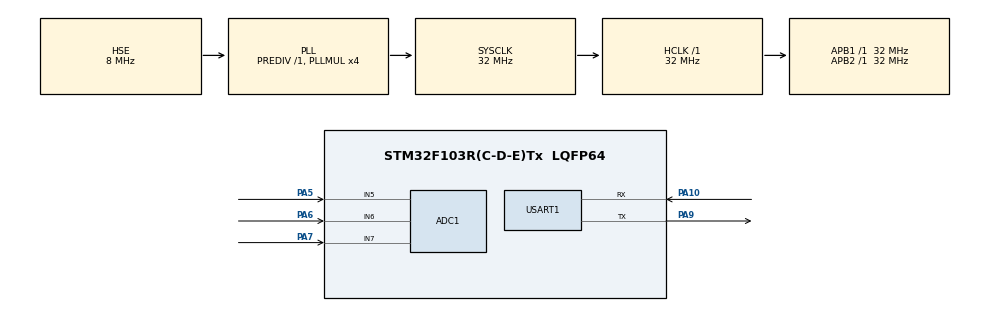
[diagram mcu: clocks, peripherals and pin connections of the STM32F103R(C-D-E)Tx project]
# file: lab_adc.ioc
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ADC1.Channel-3\#ChannelRegularConversion=ADC_CHANNEL_5
ADC1.Channel-4\#ChannelRegularConversion=ADC_CHANNEL_5
ADC1.Channel-5\#ChannelRegularConversion=ADC_CHANNEL_5
ADC1.DiscontinuousConvMode=ENABLE
ADC1.EnableRegularConversion=ENABLE
ADC1.ExternalTrigConv=ADC_EXTERNALTRIGCONV_T3_TRGO
ADC1.NbrOfConversion=3
ADC1.NbrOfConversionFlag=1
ADC1.Rank-3\#ChannelRegularConversion=1
ADC1.Rank-4\#ChannelRegularConversion=2
ADC1.Rank-5\#ChannelRegularConversion=3
ADC1.SamplingTime-3\#ChannelRegularConversion=ADC_SAMPLETIME_1CYCLE_5
ADC1.SamplingTime-4\#ChannelRegularConversion=ADC_SAMPLETIME_1CYCLE_5
ADC1.SamplingTime-5\#ChannelRegularConversion=ADC_SAMPLETIME_1CYCLE_5
ADC1.master=1
Dma.ADC1.0.Direction=DMA_PERIPH_TO_MEMORY
Dma.ADC1.0.Instance=DMA1_Channel1
Dma.ADC1.0.MemDataAlignment=DMA_MDATAALIGN_HALFWORD
Dma.ADC1.0.MemInc=DMA_MINC_ENABLE
Dma.ADC1.0.Mode=DMA_CIRCULAR
Dma.ADC1.0.PeriphDataAlignment=DMA_PDATAALIGN_HALFWORD
Dma.ADC1.0.PeriphInc=DMA_PINC_DISABLE
Dma.ADC1.0.Priority=DMA_PRIORITY_LOW
Dma.Request0=ADC1
Mcu.Family=STM32F1
Mcu.Name=STM32F103R(C-D-E)Tx
Mcu.Package=LQFP64
NVIC.ADC1_2_IRQn=true\:1\:2\:true\:false\:true\:true\:true\:true
NVIC.DMA1_Channel1_IRQn=true\:1\:1\:true\:false\:true\:false\:true\:true
NVIC.PriorityGroup=NVIC_PRIORITYGROUP_2
NVIC.TIM3_IRQn=true\:1\:1\:true\:false\:true\:true\:true\:true
PA10.Mode=Asynchronous
PA10.Signal=USART1_RX
PA13.Mode=Serial_Wire
PA13.Signal=SYS_JTMS-SWDIO
PA14.Mode=Serial_Wire
PA14.Signal=SYS_JTCK-SWCLK
PA5.Signal=ADCx_IN5
PA6.Signal=ADCx_IN6
PA7.Signal=ADCx_IN7
PA9.Mode=Asynchronous
PA9.Signal=USART1_TX
PD0-OSC_IN.Mode=HSE-External-Oscillator
PD0-OSC_IN.Signal=RCC_OSC_IN
PD1-OSC_OUT.Mode=HSE-External-Oscillator
PD1-OSC_OUT.Signal=RCC_OSC_OUT
ProjectManager.HeapSize=0x200
ProjectManager.StackSize=0x400
ProjectManager.TargetToolchain=CMake
RCC.ADCPresc=RCC_ADCPCLK2_DIV4
RCC.AHBFreq_Value=32000000
RCC.APB1Freq_Value=32000000
RCC.APB1TimFreq_Value=32000000
RCC.APB2Freq_Value=32000000
RCC.APB2TimFreq_Value=32000000
RCC.HCLKFreq_Value=32000000
RCC.PLLMUL=RCC_PLL_MUL4
RCC.PLLSourceVirtual=RCC_PLLSOURCE_HSE
RCC.SYSCLKFreq_VALUE=32000000
RCC.SYSCLKSource=RCC_SYSCLKSOURCE_PLLCLK
RCC.USBFreq_Value=32000000
SH.ADCx_IN5.0=ADC1_IN5,IN5
SH.ADCx_IN6.0=ADC1_IN6,IN6
SH.ADCx_IN7.0=ADC1_IN7,IN7
TIM3.AutoReloadPreload=TIM_AUTORELOAD_PRELOAD_ENABLE
TIM3.TIM_MasterOutputTrigger=TIM_TRGO_UPDATE
USART1.VirtualMode=VM_ASYNC
VP_TIM3_VS_ClockSourceINT.Mode=Internal
board=custom

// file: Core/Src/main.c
/* USER CODE BEGIN Header */
/**
 ******************************************************************************
 * @file           : main.c
 * @brief          : Main program body
 ******************************************************************************
 * @attention
 *
 * Copyright (c) 2024 STMicroelectronics.
 * All rights reserved.
 *
 * This software is licensed under terms that can be found in the LICENSE file
 * in the root directory of this software component.
 * If no LICENSE file comes with this software, it is provided AS-IS.
 *
 ******************************************************************************
 */
/* USER CODE END Header */
#include "main.h"

#include "adc.h"
#include "dma.h"
#include "gpio.h"
#include "stm32f1xx_hal_adc.h"
#include "stm32f1xx_hal_tim.h"
#include "tim.h"
#include "usart.h"

/* USER CODE BEGIN Includes */
#include <errno.h>
#include <stdio.h>
#include <sys/unistd.h>  // STDOUT_FILENO, STDERR_FILENO

#include "usart.h"
/* USER CODE END Includes */

/* USER CODE BEGIN PV */
uint16_t ADC_Data[192] = {0};
volatile uint8_t ADC_OK = 0;
/* USER CODE END PV */

void SystemClock_Config(void);

/* USER CODE BEGIN 0 */

int _write(int file, char *data, int len) {
  if ((file != STDOUT_FILENO) && (file != STDERR_FILENO)) {
    errno = EBADF;
    return -1;
  }

  // arbitrary timeout 1000
  HAL_StatusTypeDef status = HAL_UART_Transmit(&huart1, (uint8_t *)data, len, 0xFFFF);

  // return # of bytes written - as best we can tell
  return (status == HAL_OK ? len : 0);
}
/* USER CODE END 0 */

int main(void) {

  /* MCU Configuration--------------------------------------------------------*/

  /* Reset of all peripherals, Initializes the Flash interface and the Systick. */
  HAL_Init();

  /* Configure the system clock */
  SystemClock_Config();

  /* Initialize all configured peripherals */
  MX_GPIO_Init();
  MX_DMA_Init();
  MX_ADC1_Init();
  MX_TIM3_Init();
  MX_USART1_UART_Init();
  /* USER CODE BEGIN 2 */
  HAL_TIM_Base_Start(&htim3);
  HAL_ADCEx_Calibration_Start(&hadc1);
  HAL_ADC_Start_DMA(&hadc1, (uint32_t *)ADC_Data, sizeof(ADC_Data) / sizeof(uint16_t));
  /* USER CODE END 2 */

  /* Infinite loop */
  /* USER CODE BEGIN WHILE */
  while (!ADC_OK);
  /* USER CODE END WHILE */
  for (uint8_t i = 0; i < sizeof(ADC_Data) / sizeof(uint16_t) - 2; i += ADC_CHANNEL_NUM) {
    printf("CH5=%.3f,CH6=%.3f,CH7=%.3f\r\n", ADC_Data[i] * 3.3f / 4096.0f, ADC_Data[i + 1] * 3.3f / 4096.0f, ADC_Data[i + 2] * 3.3f / 4096.0f);
  }
  // printf("ADC Samping OK\r\n");
}

void SystemClock_Config(void) {
  RCC_OscInitTypeDef RCC_OscInitStruct = {0};
  RCC_ClkInitTypeDef RCC_ClkInitStruct = {0};
  RCC_PeriphCLKInitTypeDef PeriphClkInit = {0};

  /** Initializes the RCC Oscillators according to the specified parameters
   * in the RCC_OscInitTypeDef structure.
   */
  RCC_OscInitStruct.OscillatorType = RCC_OSCILLATORTYPE_HSE;
  RCC_OscInitStruct.HSEState = RCC_HSE_ON;
  RCC_OscInitStruct.HSEPredivValue = RCC_HSE_PREDIV_DIV1;
  RCC_OscInitStruct.HSIState = RCC_HSI_ON;
  RCC_OscInitStruct.PLL.PLLState = RCC_PLL_ON;
  RCC_OscInitStruct.PLL.PLLSource = RCC_PLLSOURCE_HSE;
  RCC_OscInitStruct.PLL.PLLMUL = RCC_PLL_MUL4;
  if (HAL_RCC_OscConfig(&RCC_OscInitStruct) != HAL_OK) {
    Error_Handler();
  }

  /** Initializes the CPU, AHB and APB buses clocks
   */
  RCC_ClkInitStruct.ClockType = RCC_CLOCKTYPE_HCLK | RCC_CLOCKTYPE_SYSCLK | RCC_CLOCKTYPE_PCLK1 | RCC_CLOCKTYPE_PCLK2;
  RCC_ClkInitStruct.SYSCLKSource = RCC_SYSCLKSOURCE_PLLCLK;
  RCC_ClkInitStruct.AHBCLKDivider = RCC_SYSCLK_DIV1;
  RCC_ClkInitStruct.APB1CLKDivider = RCC_HCLK_DIV1;
  RCC_ClkInitStruct.APB2CLKDivider = RCC_HCLK_DIV1;

  if (HAL_RCC_ClockConfig(&RCC_ClkInitStruct, FLASH_LATENCY_1) != HAL_OK) {
    Error_Handler();
  }
  PeriphClkInit.PeriphClockSelection = RCC_PERIPHCLK_ADC;
  PeriphClkInit.AdcClockSelection = RCC_ADCPCLK2_DIV4;
  if (HAL_RCCEx_PeriphCLKConfig(&PeriphClkInit) != HAL_OK) {
    Error_Handler();
  }
}

void Error_Handler(void) {
  __disable_irq();
  while (1) {
  }
}
